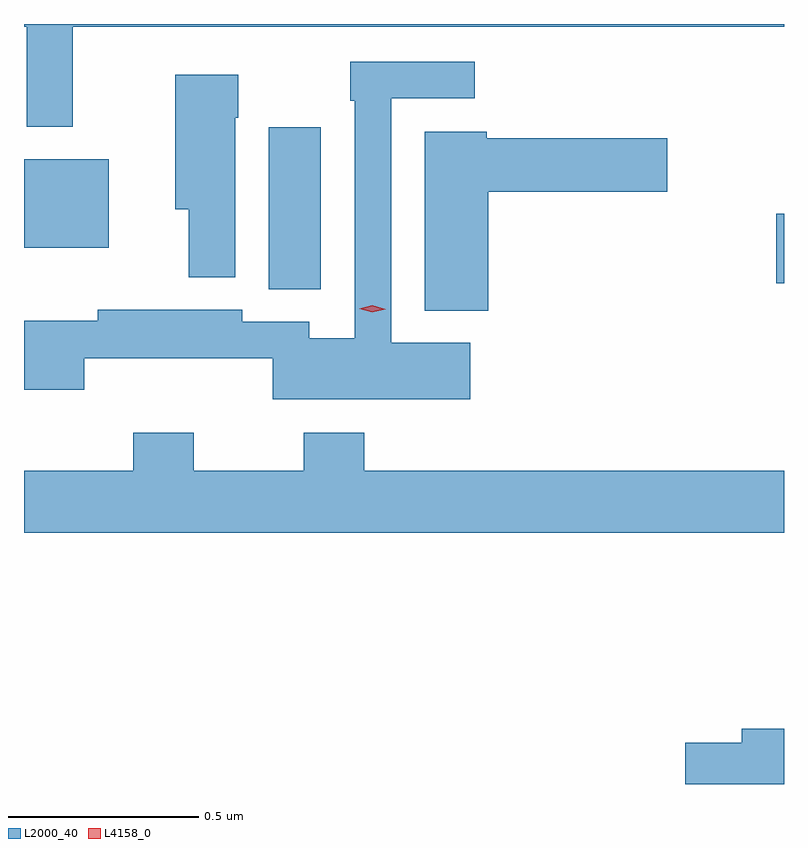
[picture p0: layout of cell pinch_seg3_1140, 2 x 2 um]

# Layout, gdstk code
import gdstk
lib = gdstk.Library(unit=1e-6, precision=1e-09)
def R(c, l, rs):  # rectangles x0, y0, x1, y1
    for r in rs: c.add(gdstk.rectangle(r[:2], r[2:], *l))
def P(c, l, *ps):  # polygons
    for p in ps: c.add(gdstk.Polygon(p, *l))
L2000_40 = (2000, 40)
L4158_0 = (4158, 0)

pinch_seg3_1140 = lib.new_cell('pinch_seg3_1140')
R(pinch_seg3_1140, L2000_40, [(267.026,748.177,267.163,748.603), (268.362,748.193,268.382,748.376), (266.382,748.286,266.605,748.519)])
P(pinch_seg3_1140, L2000_40, [(266.51,748.868),(268.382,748.868),(268.382,748.875),(266.382,748.875),(266.382,748.868),(266.389,748.868),(266.389,748.605),(266.51,748.605)],
  [(267.556,748.036),(267.348,748.036),(267.348,748.68),(267.568,748.68),(267.568,748.776),(267.24,748.776),(267.24,748.673),(267.252,748.673),(267.252,748.048),(267.132,748.048),(267.132,748.092),(266.956,748.092),(266.956,748.123),(266.576,748.123),(266.576,748.094),(266.382,748.094),(266.382,747.912),(266.54,747.912),(266.54,747.995),(267.036,747.995),(267.036,747.887),(267.556,747.887)],
  [(266.938,748.628),(266.946,748.628),(266.946,748.741),(266.78,748.741),(266.78,748.388),(266.816,748.388),(266.816,748.208),(266.938,748.208)],
  [(267.604,748.433),(268.075,748.433),(268.075,748.575),(267.6,748.575),(267.6,748.591),(267.437,748.591),(267.437,748.121),(267.604,748.121)],
  [(268.382,747.7),(267.278,747.7),(267.278,747.799),(267.118,747.799),(267.118,747.7),(266.829,747.7),(266.829,747.799),(266.669,747.799),(266.669,747.7),(266.382,747.7),(266.382,747.536),(268.382,747.536)],
  [(268.382,747.02),(268.271,747.02),(268.271,746.984),(268.122,746.984),(268.122,746.875),(268.382,746.875)])
P(pinch_seg3_1140, L4158_0, [(267.299,748.116),(267.264,748.126),(267.264,748.126),(267.264,748.126),(267.299,748.135),(267.334,748.125),(267.334,748.125),(267.334,748.125)])

lib.write_gds('pinch_seg3_1140.gds')
